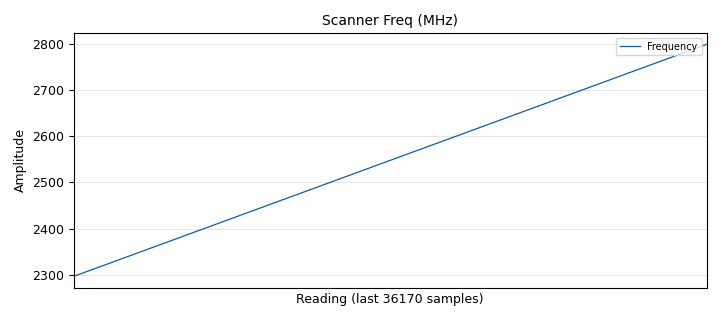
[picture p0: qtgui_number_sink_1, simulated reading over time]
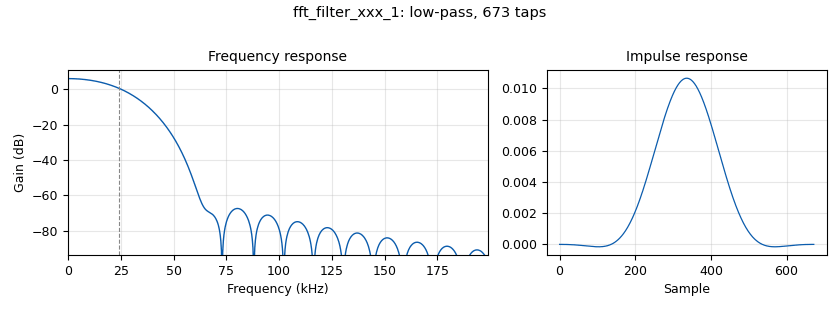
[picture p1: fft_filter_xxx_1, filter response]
<?xml version='1.0' encoding='utf-8'?>
<?grc format='1' created='3.7.10'?>
<flow_graph>
<block>
<key>options</key>
<param><key>id</key><value>audio_waterfall</value></param>
<param><key>category</key><value>Custom</value></param>
<param><key>generate_options</key><value>qt_gui</value></param>
</block>
<block>
<key>variable</key>
<param><key>id</key><value>audio_rate</value></param>
<param><key>value</key><value>48000</value></param>
</block>
<block>
<key>variable</key>
<param><key>id</key><value>decimation</value></param>
<param><key>_enabled</key><value>0</value></param>
<param><key>value</key><value>48</value></param>
</block>
<block>
<key>variable</key>
<param><key>id</key><value>decimation</value></param>
<param><key>value</key><value>200</value></param>
</block>
<block>
<key>variable</key>
<param><key>id</key><value>gain</value></param>
<param><key>value</key><value>2</value></param>
</block>
<block>
<key>variable_low_pass_filter_taps</key>
<param><key>id</key><value>lpf_taps</value></param>
<param><key>cutoff_freq</key><value>audio_rate/2</value></param>
<param><key>gain</key><value>gain</value></param>
<param><key>samp_rate</key><value>samp_rate</value></param>
<param><key>width</key><value>audio_rate</value></param>
<param><key>win</key><value>firdes.WIN_BLACKMAN</value></param>
</block>
<block>
<key>variable</key>
<param><key>id</key><value>lpf_taps_len</value></param>
<param><key>value</key><value>len(lpf_taps)</value></param>
</block>
<block>
<key>variable</key>
<param><key>id</key><value>mhz_per_sec</value></param>
<param><key>value</key><value>samp_rate/2e6</value></param>
</block>
<block>
<key>variable</key>
<param><key>id</key><value>samp_rate</value></param>
<param><key>value</key><value>audio_rate * decimation</value></param>
</block>
<block>
<key>variable</key>
<param><key>id</key><value>sawtooth_taps_asc</value></param>
<param><key>value</key><value>shinysdr_filters.design_sawtooth_filter(ntaps=128, decreasing=False)</value></param>
</block>
<block>
<key>variable</key>
<param><key>id</key><value>sawtooth_taps_dec</value></param>
<param><key>value</key><value>shinysdr_filters.design_sawtooth_filter(ntaps=128, decreasing=True)</value></param>
</block>
<block>
<key>variable</key>
<param><key>id</key><value>tuner_hi</value></param>
<param><key>value</key><value>7000</value></param>
</block>
<block>
<key>variable</key>
<param><key>id</key><value>tuner_lo</value></param>
<param><key>value</key><value>1</value></param>
</block>
<block>
<key>variable_function_probe</key>
<param><key>id</key><value>tuner_mhz</value></param>
<param><key>block_id</key><value>ramp_probe</value></param>
<param><key>function_name</key><value>level</value></param>
<param><key>poll_rate</key><value>0.5</value></param>
<param><key>value</key><value>tuner_lo</value></param>
</block>
<block>
<key>variable_qtgui_range</key>
<param><key>id</key><value>tuner_mhz</value></param>
<param><key>value</key><value>120</value></param>
<param><key>_enabled</key><value>0</value></param>
<param><key>label</key><value>Tuner (MHz)</value></param>
<param><key>orient</key><value>Qt.Horizontal</value></param>
<param><key>start</key><value>tuner_lo</value></param>
<param><key>step</key><value>1</value></param>
<param><key>stop</key><value>tuner_hi</value></param>
</block>
<block>
<key>variable</key>
<param><key>id</key><value>x_internal_rate</value></param>
<param><key>value</key><value>int(5e5)</value></param>
</block>
<block>
<key>audio_sink</key>
<param><key>id</key><value>audio_sink_0</value></param>
<param><key>device_name</key><value>hw:1,0</value></param>
<param><key>num_inputs</key><value>2</value></param>
<param><key>samp_rate</key><value>audio_rate</value></param>
</block>
<block>
<key>blocks_complex_to_mag</key>
<param><key>id</key><value>blocks_complex_to_mag_0</value></param>
</block>
<block>
<key>blocks_complex_to_mag</key>
<param><key>id</key><value>blocks_complex_to_mag_0_0</value></param>
</block>
<block>
<key>blocks_skiphead</key>
<param><key>id</key><value>blocks_skiphead_0</value></param>
<param><key>num_items</key><value>int(x_internal_rate /2)+1</value></param>
<param><key>type</key><value>float</value></param>
</block>
<block>
<key>blocks_throttle</key>
<param><key>id</key><value>blocks_throttle_0</value></param>
<param><key>maxoutbuf</key><value>128</value></param>
<param><key>samples_per_second</key><value>x_internal_rate/2500</value></param>
<param><key>type</key><value>float</value></param>
</block>
<block>
<key>dc_blocker_xx</key>
<param><key>id</key><value>dc_blocker_xx_0</value></param>
<param><key>length</key><value>32</value></param>
<param><key>long_form</key><value>True</value></param>
<param><key>type</key><value>ff</value></param>
</block>
<block>
<key>dc_blocker_xx</key>
<param><key>id</key><value>dc_blocker_xx_0_0</value></param>
<param><key>length</key><value>32</value></param>
<param><key>long_form</key><value>True</value></param>
<param><key>type</key><value>ff</value></param>
</block>
<block>
<key>fft_filter_xxx</key>
<param><key>id</key><value>fft_filter_xxx_0</value></param>
<param><key>decim</key><value>1</value></param>
<param><key>taps</key><value>sawtooth_taps_dec</value></param>
<param><key>type</key><value>ccc</value></param>
</block>
<block>
<key>fft_filter_xxx</key>
<param><key>id</key><value>fft_filter_xxx_0_0</value></param>
<param><key>decim</key><value>1</value></param>
<param><key>taps</key><value>sawtooth_taps_asc</value></param>
<param><key>type</key><value>ccc</value></param>
</block>
<block>
<key>fft_filter_xxx</key>
<param><key>id</key><value>fft_filter_xxx_1</value></param>
<param><key>decim</key><value>decimation</value></param>
<param><key>taps</key><value>lpf_taps</value></param>
<param><key>type</key><value>fff</value></param>
</block>
<block>
<key>fft_filter_xxx</key>
<param><key>id</key><value>fft_filter_xxx_1_0</value></param>
<param><key>decim</key><value>decimation</value></param>
<param><key>taps</key><value>lpf_taps</value></param>
<param><key>type</key><value>fff</value></param>
</block>
<block>
<key>fosphor_qt_sink_c</key>
<param><key>id</key><value>fosphor_qt_sink_c_0</value></param>
<param><key>freq_center</key><value>tuner_mhz * 1e6</value></param>
<param><key>freq_span</key><value>samp_rate</value></param>
</block>
<block>
<key>osmosdr_source</key>
<param><key>id</key><value>osmosdr_source_0</value></param>
<param><key>bb_gain0</key><value>40</value></param>
<param><key>freq0</key><value>tuner_mhz * 1e6</value></param>
<param><key>gain_mode0</key><value>False</value></param>
<param><key>if_gain0</key><value>32</value></param>
<param><key>gain0</key><value>14</value></param>
<param><key>args</key><value></value></param>
<param><key>type</key><value>fc32</value></param>
<param><key>sample_rate</key><value>samp_rate</value></param>
<param><key>sync</key><value></value></param>
</block>
<block>
<key>qtgui_number_sink</key>
<param><key>id</key><value>qtgui_number_sink_1</value></param>
<param><key>graph_type</key><value>qtgui.NUM_GRAPH_HORIZ</value></param>
<param><key>type</key><value>float</value></param>
<param><key>label1</key><value>Frequency</value></param>
<param><key>unit1</key><value>MHz</value></param>
<param><key>max</key><value>tuner_hi</value></param>
<param><key>min</key><value>tuner_lo</value></param>
<param><key>name</key><value>Scanner Freq (MHz)</value></param>
<param><key>update_time</key><value>1.0/30</value></param>
</block>
<block>
<key>qtgui_time_sink_x</key>
<param><key>id</key><value>qtgui_time_sink_x_0</value></param>
<param><key>_enabled</key><value>0</value></param>
<param><key>grid</key><value>True</value></param>
<param><key>color1</key><value>"blue"</value></param>
<param><key>label1</key><value>L</value></param>
<param><key>color2</key><value>"red"</value></param>
<param><key>label2</key><value>R</value></param>
<param><key>nconnections</key><value>2</value></param>
<param><key>size</key><value>audio_rate/16</value></param>
<param><key>srate</key><value>audio_rate</value></param>
<param><key>type</key><value>float</value></param>
<param><key>update_time</key><value>1.0/16</value></param>
</block>
<block>
<key>blocks_probe_signal_x</key>
<param><key>id</key><value>ramp_probe</value></param>
<param><key>type</key><value>float</value></param>
</block>
<block>
<key>analog_sig_source_x</key>
<param><key>id</key><value>ramp_source</value></param>
<param><key>amp</key><value>tuner_hi - tuner_lo</value></param>
<param><key>freq</key><value>1</value></param>
<param><key>offset</key><value>tuner_lo</value></param>
<param><key>type</key><value>float</value></param>
<param><key>samp_rate</key><value>x_internal_rate</value></param>
<param><key>waveform</key><value>analog.GR_SAW_WAVE</value></param>
</block>
<block>
<key>epy_module</key>
<param><key>id</key><value>shinysdr_filters</value></param>
<param><key>source_code</key><value># Copyright 2015 Kevin Reid &lt;kpreid@switchb.org&gt;
#
# This file is part of ShinySDR.
# 
# ShinySDR is free software: you can redistribute it and/or modify
# it under the terms of the GNU General Public License as published by
# the Free Software Foundation, either version 3 of the License, or
# (at your option) any later version.
# 
# ShinySDR is distributed in the hope that it will be useful,
# but WITHOUT ANY WARRANTY; without even the implied warranty of
# MERCHANTABILITY or FITNESS FOR A PARTICULAR PURPOSE.  See the
# GNU General Public License for more details.
# 
# You should have received a copy of the GNU General Public License
# along with ShinySDR.  If not, see &lt;http://www.gnu.org/licenses/&gt;.

'''
GNU Radio blocks which automatically compute appropriate filter designs.
'''

from __future__ import absolute_import, division

from fractions import gcd
from math import pi, sin, cos

from gnuradio import gr
from gnuradio.fft import window
from gnuradio import filter as grfilter  # don't shadow builtin
from gnuradio.filter import pfb
from gnuradio.filter import firdes
from gnuradio.filter import rational_resampler

def design_sawtooth_filter(
        ntaps=40,
        decreasing=False,
        window_type=window.WIN_HAMMING,
        beta=0):
    '''
    This filter has a response which increases or decreases linearly with frequency, cut at f_s/2. Its gain is 1 at frequency 0 and thus also 1 averaged over all frequencies.
    '''
    window_values = window.build(window_type, ntaps, beta)
    
    # Formula provided by Olli Niemitalo in &lt;http://dsp.stackexchange.com/a/28035/4655&gt;.
    taps = []
    for i in xrange(0, ntaps):
        k = i - ntaps // 2  # k = 0 at middle
        if k == 0:
            # substitute limit for division by zero
            ideal_response = complex(pi, 0)
        else:
            # The real part is pi * sinc(k), but that is always zero when k != 0.
            ideal_response = complex(0, sin(pi * k) / (pi * k * k) - cos(pi * k) / k)
        taps.append(window_values[i] * ideal_response)
        
    # Compute gain at frequency 0, and divide by it so as to set the wanted gain.
    gain_factor = 1.0 / abs(sum(taps))
    for i in xrange(0, ntaps):
        taps[i] *= gain_factor
    
    # Reverse if appropriate.
    if decreasing:
        taps = taps[::-1]
    return taps
</value></param>
</block>
<block>
<key>virtual_sink</key>
<param><key>id</key><value>virtual_sink_0</value></param>
<param><key>stream_id</key><value>a_left</value></param>
</block>
<block>
<key>virtual_sink</key>
<param><key>id</key><value>virtual_sink_0_0</value></param>
<param><key>stream_id</key><value>a_right</value></param>
</block>
<block>
<key>virtual_sink</key>
<param><key>id</key><value>virtual_sink_1</value></param>
<param><key>stream_id</key><value>rf_l</value></param>
</block>
<block>
<key>virtual_sink</key>
<param><key>id</key><value>virtual_sink_1_0</value></param>
<param><key>stream_id</key><value>rf_r</value></param>
</block>
<block>
<key>virtual_source</key>
<param><key>id</key><value>virtual_source_0</value></param>
<param><key>stream_id</key><value>a_left</value></param>
</block>
<block>
<key>virtual_source</key>
<param><key>id</key><value>virtual_source_0_0</value></param>
<param><key>stream_id</key><value>a_right</value></param>
</block>
<block>
<key>virtual_source</key>
<param><key>id</key><value>virtual_source_1</value></param>
<param><key>stream_id</key><value>rf_r</value></param>
</block>
<block>
<key>virtual_source</key>
<param><key>id</key><value>virtual_source_1_0</value></param>
<param><key>stream_id</key><value>rf_r</value></param>
</block>
<connection><source_block_id>blocks_complex_to_mag_0</source_block_id><sink_block_id>fft_filter_xxx_1</sink_block_id><source_key>0</source_key><sink_key>0</sink_key></connection>
<connection><source_block_id>blocks_complex_to_mag_0_0</source_block_id><sink_block_id>fft_filter_xxx_1_0</sink_block_id><source_key>0</source_key><sink_key>0</sink_key></connection>
<connection><source_block_id>blocks_skiphead_0</source_block_id><sink_block_id>blocks_throttle_0</sink_block_id><source_key>0</source_key><sink_key>0</sink_key></connection>
<connection><source_block_id>blocks_throttle_0</source_block_id><sink_block_id>qtgui_number_sink_1</sink_block_id><source_key>0</source_key><sink_key>0</sink_key></connection>
<connection><source_block_id>blocks_throttle_0</source_block_id><sink_block_id>ramp_probe</sink_block_id><source_key>0</source_key><sink_key>0</sink_key></connection>
<connection><source_block_id>dc_blocker_xx_0</source_block_id><sink_block_id>virtual_sink_0_0</sink_block_id><source_key>0</source_key><sink_key>0</sink_key></connection>
<connection><source_block_id>dc_blocker_xx_0_0</source_block_id><sink_block_id>virtual_sink_0</sink_block_id><source_key>0</source_key><sink_key>0</sink_key></connection>
<connection><source_block_id>fft_filter_xxx_0</source_block_id><sink_block_id>blocks_complex_to_mag_0</sink_block_id><source_key>0</source_key><sink_key>0</sink_key></connection>
<connection><source_block_id>fft_filter_xxx_0_0</source_block_id><sink_block_id>blocks_complex_to_mag_0_0</sink_block_id><source_key>0</source_key><sink_key>0</sink_key></connection>
<connection><source_block_id>fft_filter_xxx_1</source_block_id><sink_block_id>dc_blocker_xx_0_0</sink_block_id><source_key>0</source_key><sink_key>0</sink_key></connection>
<connection><source_block_id>fft_filter_xxx_1_0</source_block_id><sink_block_id>dc_blocker_xx_0</sink_block_id><source_key>0</source_key><sink_key>0</sink_key></connection>
<connection><source_block_id>osmosdr_source_0</source_block_id><sink_block_id>fosphor_qt_sink_c_0</sink_block_id><source_key>0</source_key><sink_key>0</sink_key></connection>
<connection><source_block_id>osmosdr_source_0</source_block_id><sink_block_id>virtual_sink_1</sink_block_id><source_key>0</source_key><sink_key>0</sink_key></connection>
<connection><source_block_id>osmosdr_source_0</source_block_id><sink_block_id>virtual_sink_1_0</sink_block_id><source_key>0</source_key><sink_key>0</sink_key></connection>
<connection><source_block_id>ramp_source</source_block_id><sink_block_id>blocks_skiphead_0</sink_block_id><source_key>0</source_key><sink_key>0</sink_key></connection>
<connection><source_block_id>virtual_source_0</source_block_id><sink_block_id>audio_sink_0</sink_block_id><source_key>0</source_key><sink_key>0</sink_key></connection>
<connection><source_block_id>virtual_source_0</source_block_id><sink_block_id>qtgui_time_sink_x_0</sink_block_id><source_key>0</source_key><sink_key>0</sink_key></connection>
<connection><source_block_id>virtual_source_0_0</source_block_id><sink_block_id>audio_sink_0</sink_block_id><source_key>0</source_key><sink_key>1</sink_key></connection>
<connection><source_block_id>virtual_source_0_0</source_block_id><sink_block_id>qtgui_time_sink_x_0</sink_block_id><source_key>0</source_key><sink_key>1</sink_key></connection>
<connection><source_block_id>virtual_source_1</source_block_id><sink_block_id>fft_filter_xxx_0</sink_block_id><source_key>0</source_key><sink_key>0</sink_key></connection>
<connection><source_block_id>virtual_source_1_0</source_block_id><sink_block_id>fft_filter_xxx_0_0</sink_block_id><source_key>0</source_key><sink_key>0</sink_key></connection>
</flow_graph>
